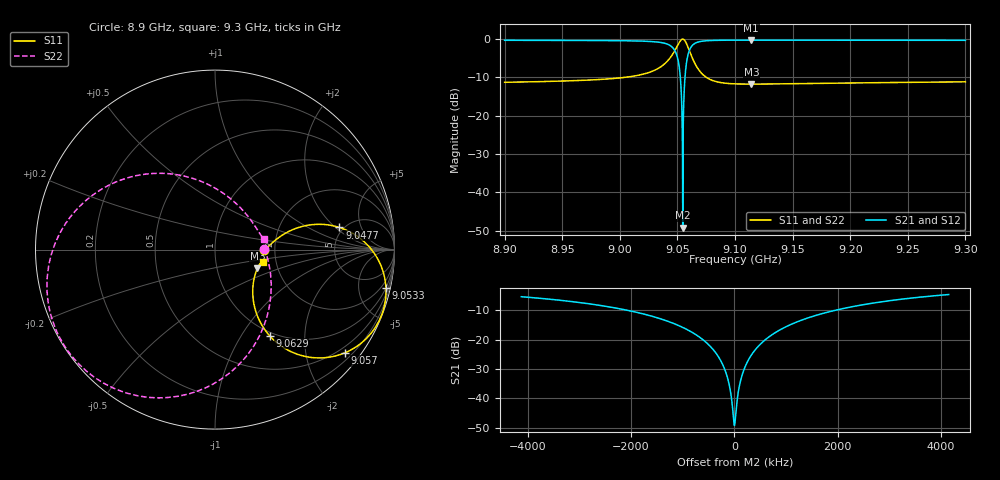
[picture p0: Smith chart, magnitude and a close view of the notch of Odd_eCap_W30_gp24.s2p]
! Sonnet Data File
! From: emgraph Version : 16.52
! From Project: Resonator2_extremeCap2
! Data is De-embedded
! Data File Written: 10/11/2017 09:28:27
!< HDATE 10/10/2017 20:43:28
!< MDATE 10/10/2017 20:43:28
!< PARAMS
!< Pwid1 = 2000.0
!< Pwid2 = 2000.0
!< Air_gap = 18.0
!< Width = 30.0
!< Gap = 24.0
!< END PARAMS
# GHZ S MA R 43.06000
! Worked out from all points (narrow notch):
!   2194 points, 8.9 GHz to 9.3 GHz, reference 43.06 ohm
!   highest |S21| = -0.30 dB at 9.114 GHz (marker M1); lowest = -49.2 dB at 9.0546 GHz (marker M2)
!   notch at M2: 48.8 dB deep, 695 kHz wide at half that depth
!   lowest |S11| = -11.8 dB at 9.1143 GHz (marker M3), VSWR 1.70, Z = 67.5 - j15.2 ohm
!   |S11| at or under -10 dB: start of sweep to 9.0045 GHz; 9.0751 GHz to end of sweep
!   |S22| runs from -11.8 to 0.0 dB; largest |S21 - S12| = 0
!   S11 on the Smith chart (normalised r, x): 8.9 GHz: 1.75, -0.01; 9.0477 GHz: 4.61, +2.25; 9.0533 GHz: 0.98, -8.91; 9.057 GHz: 0.36, -2.82; 9.0629 GHz: 0.95, -1.34; 9.3 GHz: 1.71, -0.25
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8.9  0.2726 -0.6  0.9621 -89.8  0.9621 -89.8  0.2726 1.1
!< P1 F=8.9 Eeff=(5.1612639 -2.2548e-5) Z0=(43.0590329 9.5502e-5) R=0.0 C=0.0
!< P2 F=8.9 Eeff=(5.1612639 -2.2548e-5) Z0=(43.0590329 9.5502e-5) R=0.0 C=0.0
8.96675  0.2887 1.9  0.9574 -92.2  0.9574 -92.2  0.2887 -6.2
9.0335  0.415 13.5  0.9096 -104.1  0.9096 -104.1  0.4147 -41.9
9.047701  0.7038 10.1  0.709 -127.1  0.709 -127.1  0.7028 -84.7
9.05125  0.8821 -0.9  0.4671 -145.3  0.4671 -145.3  0.8807 -110.3
9.053333  0.9762 -12.7  0.2055 -161.3  0.2055 -161.3  0.9744 -131.8
9.054246  0.9954 -19.0  0.06224 -167.7  0.06224 -167.7  0.9936 -142.6
9.054483  0.9971 -20.7  0.02355 -164.7  0.02355 -164.7  0.9952 -145.5
9.054622  0.9973 -21.8  0.003474 -86.8  0.003474 -86.8  0.9955 -147.2
9.054732  0.9971 -22.6  0.01835 -6.5  0.01835 -6.5  0.9953 -148.6
9.054829  0.9967 -23.3  0.03442 -2.4  0.03442 -2.4  0.9949 -149.8
9.05525  0.9918 -26.4  0.1045 -2.6  0.1045 -2.6  0.99 -155.1
9.057  0.9237 -38.5  0.3767 -18.0  0.3767 -18.0  0.9219 -176.4
9.0595  0.7594 -50.9  0.6479 -36.9  0.6479 -36.9  0.7579 157.6
9.062875  0.5677 -57.6  0.8221 -53.0  0.8221 -53.0  0.5666 131.9
9.074001  0.3253 -49.7  0.9454 -72.7  0.9454 -72.7  0.3248 84.3
9.1  0.2601 -28.9  0.9655 -82.7  0.9655 -82.7  0.26 43.5
9.114  0.2581 -24.1  0.9661 -84.6  0.9661 -84.6  0.2581 34.9
9.11425  0.2581 -24.0  0.9661 -84.6  0.9661 -84.6  0.2581 34.8
9.16675  0.2634 -17.1  0.9647 -87.8  0.9647 -87.8  0.2634 21.4
9.2335  0.2706 -14.9  0.9627 -89.8  0.9627 -89.8  0.2706 15.3
9.3  0.2766 -14.4  0.961 -91.1  0.961 -91.1  0.2766 12.2
